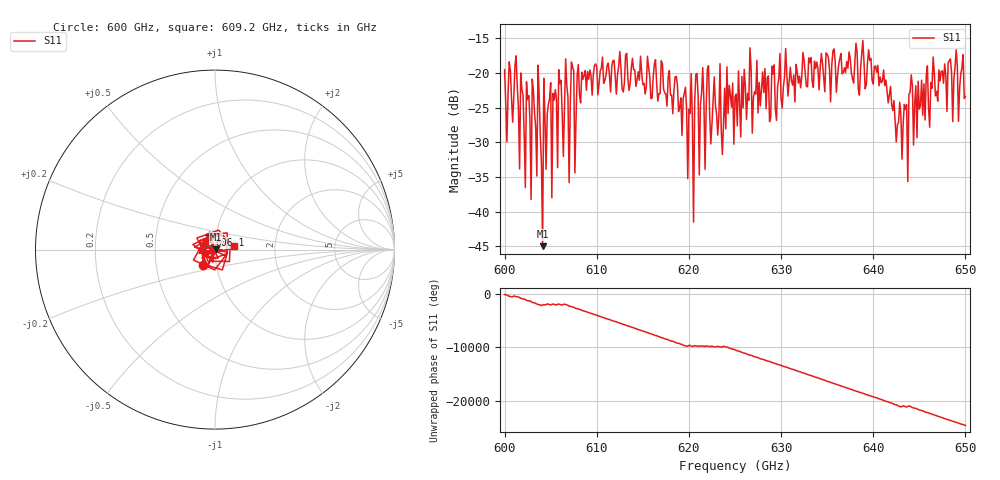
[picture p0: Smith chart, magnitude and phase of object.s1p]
!Created with skrf (http://scikit-rf.org).
# GHz S MA R 50.0
!freq magS11 angS11
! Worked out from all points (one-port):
!   401 points, 600 GHz to 650 GHz, reference 50 ohm
!   lowest |S11| = -45.0 dB at 604.1 GHz (marker M1), VSWR 1.01, Z = 50.5 + j0.267 ohm
!   |S11| at or under -10 dB: start of sweep to end of sweep
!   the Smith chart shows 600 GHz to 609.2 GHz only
!   S11 on the Smith chart (normalised r, x): 600 GHz: 0.87, -0.15; 606.1 GHz: 0.93, +0.16; 609.2 GHz: 1.23, +0.04
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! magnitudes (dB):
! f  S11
! 600 GHz  -19.5
! 601.2 GHz  -17.5
! 602.2 GHz  -36.5
! 603.5 GHz  -34.8
! 604.1 GHz  -45.0
! 604.4 GHz  -26.3
! 604.5 GHz  -33.9
! 606.1 GHz  -21.1
! 606.2 GHz  -25.9
! 609.2 GHz  -19.6
! 612.5 GHz  -16.9
! 618.8 GHz  -21.6
! 620.2 GHz  -20.1
! 620.9 GHz  -20.1
! 623.8 GHz  -27.5
! 624.1 GHz  -19.1
! 625 GHz  -23.4
! 626.5 GHz  -23.9
! 628.4 GHz  -25.1
! 628.6 GHz  -20.4
! 631.2 GHz  -21.7
! 637.5 GHz  -17.9
! 639.6 GHz  -18.2
! 641.2 GHz  -21.8
! 642.5 GHz  -29.9
! 643.8 GHz  -35.6
! 647.6 GHz  -21.5
! 650 GHz  -23.4
